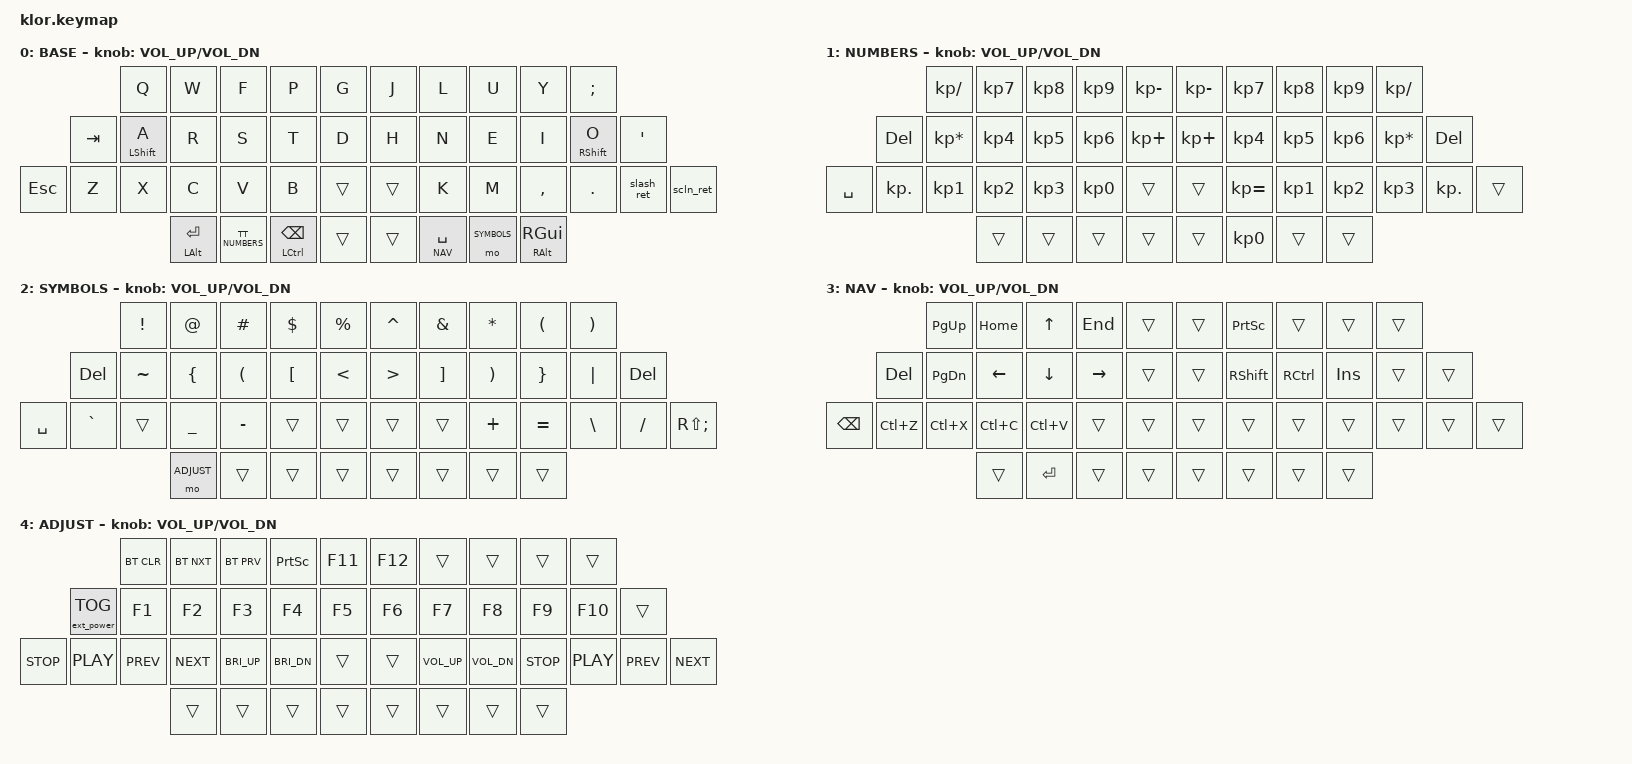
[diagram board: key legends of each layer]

//                               █         █    █            ▄▄▄▀▀▀▀▀▀▄▄▄        █▀▀▀▀▀▀▀▀▀▀█
//                               █        █     █          ▄▀            ▀▄      █          █
//                               █       █      █        ▄▀                ▀▄    █          █
//                               █      █       █        █                  █    █          █
//                               █     █        █       █                    █   █          █
//                               █    █         █       █                    █   █▄▄▄▄▄▄▄▄▄▄█
//                               █   █ █        █       █                    █   █      █
//                               █  █   █       █        █                  █    █       █
//                               █ █     █      █        ▀▄                ▄▀    █        █
//                               ██       █     █          ▀▄            ▄▀      █         █
//                               █         █    █▄▄▄▄▄▄▄▄    ▀▀▀▄▄▄▄▄▄▀▀▀        █          █
//
// ▄▄▄▄▄▄▄▄▄▄▄▄▄▄▄▄▄▄▄▄▄▄▄▄▄▄▄▄▄▄▄▄▄▄▄▄▄▄▄▄▄▄▄▄▄▄▄▄▄▄▄▄▄▄▄▄▄▄▄▄▄▄▄▄▄▄▄▄▄▄▄▄▄▄▄▄▄▄▄▄▄▄▄▄▄▄▄▄▄▄▄▄▄▄▄▄▄▄▄▄▄▄▄▄▄▄▄▄▄▄▄▄▄▄▄▄▄▄▄▄▄▄▄▄▄
       
#include <behaviors.dtsi>
#include <dt-bindings/zmk/keys.h>
#include <dt-bindings/zmk/bt.h>
#include <dt-bindings/zmk/outputs.h>
#include <dt-bindings/zmk/ext_power.h>

#define BASE   0
#define NUMBERS  1
#define SYMBOLS  2
#define NAV  3
#define ADJUST 4


/ {
    behaviors {
        hm: homerow_mods {
            compatible = "zmk,behavior-hold-tap";
            label = "HOMEROW_MODS";
            #binding-cells = <2>;
            tapping-term-ms = <150>;
            quick_tap_ms = <0>;
            flavor = "tap-preferred";
            bindings = <&kp>, <&kp>;
        };
         TT_NUMBERS: tap_dance_0 {
            compatible = "zmk,behavior-tap-dance";
            label = "TAP_DANCE_0";
            #binding-cells = <0>;
            tapping-term-ms = <200>;
            bindings = <&mo NUMBERS>, <&tog NUMBERS>;
        };
        slash_ret: tap_dance_1 {
            compatible = "zmk,behavior-tap-dance";
            label = "TAP_DANCE_1";
            #binding-cells = <0>;
            tapping-term-ms = <200>;
            bindings = <&kp FSLH>, <&kp RET>;
        };

    };

    macros {
        scln_ret: scln_ret {
            label = "ZM_scln_ret";
            compatible = "zmk,behavior-macro";
            #binding-cells = <0>;
            bindings
                = <&macro_tap &kp SEMI &kp RET>;
        };
    };

     combos {
            compatible = "zmk,combos";
            combo_cw {
                layers = <0> ;
                timeout-ms = <50>;
                key-positions = <11 20>;
                bindings = <&caps_word>;
            };
    };
    
   
    conditional_layers {
        compatible = "zmk,conditional-layers";
        tri_layer {
            if-layers = <NUMBERS SYMBOLS>;
            then-layer = <ADJUST>;
        };
    };




        keymap {
                compatible = "zmk,keymap";
// ▄▄▄▄▄▄▄▄▄▄▄▄▄▄▄▄▄▄▄▄▄▄▄▄▄▄▄▄▄▄▄▄▄▄▄▄▄▄▄▄▄▄▄▄▄▄▄▄▄▄▄▄▄▄▄▄▄▄▄▄▄▄▄▄▄▄▄▄▄▄▄▄▄▄▄▄▄▄▄▄▄▄▄▄▄▄▄▄▄▄▄▄▄▄▄▄▄▄▄▄▄▄▄▄▄▄▄▄▄▄▄▄▄▄▄▄▄▄▄▄▄▄▄▄▄▄▄▄▄▄▄▄▄▄▄▄▄▄▄▄▄▄


                base_layer {
// ┌───────────────────────────────────────────────────────────┐
label= "BASE"                                                  ;
// └───────────────────────────────────────────────────────────┘
/*           ┌─────────┬─────────┬─────────┬─────────┬─────────┐                    ┌─────────┬─────────┬─────────┬─────────┬─────────┐
             │    Q    │    W    │    F    │    P    │    G    │                    │    J    │    L    │    U    │    Y    │    ;    │   
   ┌─────────┼─────────┼─────────┼─────────┼─────────┼─────────┤                    ├─────────┼─────────┼─────────┼─────────┼─────────┼─────────┐
   │   TAB   │    A    │    R    │    S    │    T    │    D    │                    │    H    │    N    │    E    │    I    │    O    │    "    │
   ├─────────┼─────────┼─────────┼─────────┼─────────┼─────────┤╭────────╮╭────────╮├─────────┼─────────┼─────────┼─────────┼─────────┼─────────┤
   │   DEL   │    Z    │    X    │    C    │    V    │    B    ││  MUTE  ││PLY/PSE ││    K    │    M    │    ,    │    .    │    /    │    \    │
   └─────────┴─────────┴─────────┼─────────┼─────────┼─────────┼╰────────╯╰────────╯┼─────────┼─────────┼─────────┼─────────┴─────────┴─────────┘
                                 │  CTRL   │  LOWER  │  SPACE  │   ALT   ││ CMD/WIN │  ENTER  │  RAISE  │  BSPCE  │  
                                 └─────────┴─────────┴─────────┴─────────┘└─────────┴─────────┴─────────┴─────────┘ */ 
 bindings = <
 //╷         ╷         ╷         ╷         ╷         ╷         ╷         ╷╷         ╷         ╷         ╷         ╷         ╷         ╷         ╷
              &kp Q     &kp W     &kp F     &kp P     &kp G                   &kp J     &kp L     &kp U     &kp Y     &kp SEMI
    &kp TAB   &hm LSHFT A   &kp R  &kp S    &kp T     &kp D                    &kp H     &kp N     &kp E     &kp I     &hm RSHFT O     &kp SQT
&kp ESC &kp Z    &kp X     &kp C     &kp V     &kp B     &trans     &trans    &kp K     &kp M     &kp COMMA &kp DOT   &slash_ret  &scln_ret
                            &mt LALT RET   &TT_NUMBERS   &mt LCTRL BSPC &trans   &trans  &lt NAV SPACE   &mo SYMBOLS &mt RALT RGUI    
                        >;
            sensor-bindings = <&inc_dec_kp C_VOL_UP C_VOL_DN>;
                };

// ▄▄▄▄▄▄▄▄▄▄▄▄▄▄▄▄▄▄▄▄▄▄▄▄▄▄▄▄▄▄▄▄▄▄▄▄▄▄▄▄▄▄▄▄▄▄▄▄▄▄▄▄▄▄▄▄▄▄▄▄▄▄▄▄▄▄▄▄▄▄▄▄▄▄▄▄▄▄▄▄▄▄▄▄▄▄▄▄▄▄▄▄▄▄▄▄▄▄▄▄▄▄▄▄▄▄▄▄▄▄▄▄▄▄▄▄▄▄▄▄▄▄▄▄▄▄▄▄▄▄▄▄▄▄▄▄▄▄▄▄▄▄


                number_layer {
// ┌───────────────────────────────────────────────────────────┐
label= "NUMBERS"                                                 ;
// └───────────────────────────────────────────────────────────┘
/*           ┌─────────┬─────────┬─────────┬─────────┬─────────┐                    ┌─────────┬─────────┬─────────┬─────────┬─────────┐
             │         │         │    UP   │         │    {    │                    │    }    │    7    │    8    │    9    │    +    │
   ┌─────────┼─────────┼─────────┼─────────┼─────────┼─────────┤                    ├─────────┼─────────┼─────────┼─────────┼─────────┼─────────┐
   │         │         │   LEFT  │  DOWN   │  RIGHT  │    [    │                    │    ]    │    4    │    5    │    6    │    -    │         │
   ├─────────┼─────────┼─────────┼─────────┼─────────┼─────────┤╭────────╮╭────────╮├─────────┼─────────┼─────────┼─────────┼─────────┼─────────┤
   │         │         │   P UP  │ C LOCK  │ P DOWN  │    (    ││        ││        ││    )    │    1    │    2    │    3    │    *    │         │
   └─────────┴─────────┴─────────┼─────────┼─────────┼─────────┼╰────────╯╰────────╯┼─────────┼─────────┼─────────┼─────────┴─────────┴─────────┘
                                 │         │         │         │         ││         │         │    0    │         │  
                                 └─────────┴─────────┴─────────┴─────────┘└─────────┴─────────┴─────────┴─────────┘ */ 
 bindings = <
 //╷         ╷         ╷         ╷         ╷         ╷         ╷         ╷╷         ╷         ╷         ╷         ╷         ╷         ╷         ╷
    &kp KP_DIVIDE   &kp KP_N7 &kp KP_N8 &kp KP_N9    &kp KP_MINUS                       &kp KP_MINUS  &kp KP_N7 &kp KP_N8 &kp KP_N9 &kp KP_DIVIDE
    &kp DEL    &kp KP_MULTIPLY    &kp KP_N4 &kp KP_N5 &kp KP_N6 &kp KP_PLUS                       &kp KP_PLUS  &kp KP_N4 &kp KP_N5 &kp KP_N6 &kp KP_MULTIPLY &kp DEL
    &kp SPACE   &kp KP_DOT   &kp KP_N1 &kp KP_N2 &kp KP_N3 &kp KP_N0  &trans     &trans    &kp KP_EQUAL  &kp KP_N1 &kp KP_N2 &kp KP_N3 &kp KP_DOT &trans
                                  &trans    &trans    &trans   &trans     &trans    &kp KP_N0 &trans &trans  
                        >;
            sensor-bindings = <&inc_dec_kp C_VOL_UP C_VOL_DN>;
                };

// ▄▄▄▄▄▄▄▄▄▄▄▄▄▄▄▄▄▄▄▄▄▄▄▄▄▄▄▄▄▄▄▄▄▄▄▄▄▄▄▄▄▄▄▄▄▄▄▄▄▄▄▄▄▄▄▄▄▄▄▄▄▄▄▄▄▄▄▄▄▄▄▄▄▄▄▄▄▄▄▄▄▄▄▄▄▄▄▄▄▄▄▄▄▄▄▄▄▄▄▄▄▄▄▄▄▄▄▄▄▄▄▄▄▄▄▄▄▄▄▄▄▄▄▄▄


                symbol_layer {
// ┌───────────────────────────────────────────────────────────┐
label= "SYMBOLS"                                                 ;
// └───────────────────────────────────────────────────────────┘
/*           ┌─────────┬─────────┬─────────┬─────────┬─────────┐                    ┌─────────┬─────────┬─────────┬─────────┬─────────┐
             │         │         │         │         │         │                    │         │         │    Ü    │         │         │
   ┌─────────┼─────────┼─────────┼─────────┼─────────┼─────────┤                    ├─────────┼─────────┼─────────┼─────────┼─────────┼─────────┐
   │    Ä    │         │    ß    │         │         │         │                    │         │         │         │         │    Ö    │         │
   ├─────────┼─────────┼─────────┼─────────┼─────────┼─────────┤╭────────╮╭────────╮├─────────┼─────────┼─────────┼─────────┼─────────┼─────────┤
   │         │         │         │         │         │         ││        ││        ││         │         │         │         │         │         │
   └─────────┴─────────┴─────────┼─────────┼─────────┼─────────┼╰────────╯╰────────╯┼─────────┼─────────┼─────────┼─────────┴─────────┴─────────┘
                                 │ ADJUST  │         │         │         ││         │         │         │         │  
                                 └─────────┴─────────┴─────────┴─────────┘└─────────┴─────────┴─────────┴─────────┘ */ 
 bindings = <
 //╷         ╷         ╷         ╷         ╷         ╷         ╷         ╷╷         ╷         ╷         ╷         ╷         ╷         ╷         ╷
              &kp EXCL   &kp AT   &kp HASH  &kp DLLR  &kp PRCNT                      &kp CARET &kp AMPS  &kp STAR  &kp LPAR    &kp RPAR     
    &kp DEL   &kp TILDE  &kp LBRC &kp LPRN  &kp LBKT  &kp LT                          &kp GT    &kp RBKT  &kp RPRN  &kp RBRC    &kp PIPE &kp DEL  
    &kp SPACE &kp GRAVE  &trans    &kp UNDER  &kp MINUS  &trans    &trans   &trans    &trans    &kp PLUS  &kp EQUAL &kp BSLH    &kp FSLH    &kp RS(SEMI)
                                  &mo ADJUST &trans   &trans    &trans     &trans    &trans    &trans    &trans  
                        >;
                sensor-bindings = <&inc_dec_kp C_VOL_UP C_VOL_DN>;
                };

// ▄▄▄▄▄▄▄▄▄▄▄▄▄▄▄▄▄▄▄▄▄▄▄▄▄▄▄▄▄▄▄▄▄▄▄▄▄▄▄▄▄▄▄▄▄▄▄▄▄▄▄▄▄▄▄▄▄▄▄▄▄▄▄▄▄▄▄▄▄▄▄▄▄▄▄▄▄▄▄▄▄▄▄▄▄▄▄▄▄▄▄▄▄▄▄▄▄▄▄▄▄▄▄▄▄▄▄▄▄▄▄▄▄▄▄▄▄▄▄▄▄▄▄▄▄

                nav_layer {
// ┌───────────────────────────────────────────────────────────┐
label= "NAV"                                                 ;
// └───────────────────────────────────────────────────────────┘
/*           ┌─────────┬─────────┬─────────┬─────────┬─────────┐                    ┌─────────┬─────────┬─────────┬─────────┬─────────┐
             │         │         │         │         │         │                    │         │         │    Ü    │         │         │
   ┌─────────┼─────────┼─────────┼─────────┼─────────┼─────────┤                    ├─────────┼─────────┼─────────┼─────────┼─────────┼─────────┐
   │    Ä    │         │    ß    │         │         │         │                    │         │         │         │         │    Ö    │         │
   ├─────────┼─────────┼─────────┼─────────┼─────────┼─────────┤╭────────╮╭────────╮├─────────┼─────────┼─────────┼─────────┼─────────┼─────────┤
   │         │         │         │         │         │         ││        ││        ││         │         │         │         │         │         │
   └─────────┴─────────┴─────────┼─────────┼─────────┼─────────┼╰────────╯╰────────╯┼─────────┼─────────┼─────────┼─────────┴─────────┴─────────┘
                                 │ ADJUST  │         │         │         ││         │         │         │         │  
                                 └─────────┴─────────┴─────────┴─────────┘└─────────┴─────────┴─────────┴─────────┘ */ 
 bindings = <
 //╷         ╷         ╷         ╷         ╷         ╷         ╷         ╷╷         ╷         ╷         ╷         ╷         ╷         ╷         ╷
              &kp PG_UP    &kp HOME    &kp UP    &kp END    &trans                         &trans    &kp PSCRN    &trans &trans    &trans     
    &kp DEL &kp PG_DN    &kp LEFT &kp DOWN  &kp RIGHT    &trans                         &trans    &kp RSHFT  &kp RCTRL    &kp INSERT    &trans &trans  
    &kp BSPC    &kp LC(Z)  &kp LC(X)  &kp LC(C)  &kp LC(V)    &trans    &trans     &trans    &trans    &trans    &trans    &trans    &trans    &trans
                                  &trans &kp ENTER   &trans    &trans     &trans    &trans    &trans    &trans  
                        >;
                sensor-bindings = <&inc_dec_kp C_VOL_UP C_VOL_DN>;
                };

// ▄▄▄▄▄▄▄▄▄▄▄▄▄▄▄▄▄▄▄▄▄▄▄▄▄▄▄▄▄▄▄▄▄▄▄▄▄▄▄▄▄▄▄▄▄▄▄▄▄▄▄▄▄▄▄▄▄▄▄▄▄▄▄▄▄▄▄▄▄▄▄▄▄▄▄▄▄▄▄▄▄▄▄▄▄▄▄▄▄▄▄▄▄▄▄▄▄▄▄▄▄▄▄▄▄▄▄▄▄▄▄▄▄▄▄▄▄▄▄▄▄▄▄▄▄
                adjust_layer {
// ┌───────────────────────────────────────────────────────────┐
label= "ADJUST"                                                ;
// └───────────────────────────────────────────────────────────┘
/*           ┌─────────┬─────────┬─────────┬─────────┬─────────┐                    ┌─────────┬─────────┬─────────┬─────────┬─────────┐
             │         │         │         │         │         │                    │         │         │         │         │         │
   ┌─────────┼─────────┼─────────┼─────────┼─────────┼─────────┤                    ├─────────┼─────────┼─────────┼─────────┼─────────┼─────────┐
   │         │         │         │         │         │         │                    │         │         │         │         │         │         │
   ├─────────┼─────────┼─────────┼─────────┼─────────┼─────────┤╭────────╮╭────────╮├─────────┼─────────┼─────────┼─────────┼─────────┼─────────┤
   │         │         │         │         │         │         ││        ││        ││         │         │         │         │         │         │
   └─────────┴─────────┴─────────┼─────────┼─────────┼─────────┼╰────────╯╰────────╯┼─────────┼─────────┼─────────┼─────────┴─────────┴─────────┘
                                 │         │         │         │         ││         │         │         │         │  
                                 └─────────┴─────────┴─────────┴─────────┘└─────────┴─────────┴─────────┴─────────┘ */ 
 bindings = <
 //╷         ╷         ╷         ╷         ╷         ╷         ╷         ╷╷         ╷         ╷         ╷         ╷         ╷         ╷         ╷
            &bt BT_CLR &bt BT_NXT &bt BT_PRV  &kp PSCRN    &kp F11                         &kp F12    &trans    &trans    &trans     &trans   
&ext_power EP_TOG   &kp F1 &kp F2   &kp F3   &kp F4    &kp F5                         &kp F6    &kp F7    &kp F8    &kp F9 &kp F10   &trans 
&kp C_STOP &kp C_PLAY &kp C_PREV  &kp C_NEXT  &kp C_BRI_UP &kp C_BRI_DN    &trans     &trans    &kp C_VOL_UP &kp C_VOL_DN   &kp C_STOP &kp C_PLAY &kp C_PREV  &kp C_NEXT   
                                         &trans    &trans    &trans    &trans     &trans    &trans    &trans    &trans    
                        >;
            sensor-bindings = <&inc_dec_kp C_VOL_UP C_VOL_DN>;
                };
        };
};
